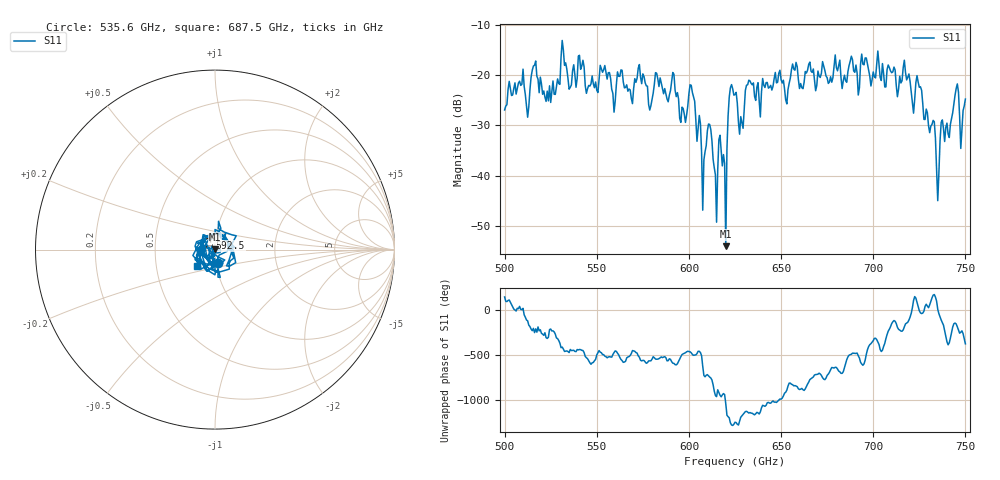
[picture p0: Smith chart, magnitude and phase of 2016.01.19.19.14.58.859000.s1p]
!Created with skrf (http://scikit-rf.org).
# GHz S RI R 50.0
!freq ReS11 ImS11
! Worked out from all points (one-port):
!   401 points, 500 GHz to 750 GHz, reference 50 ohm
!   lowest |S11| = -54.0 dB at 620 GHz (marker M1), VSWR 1.00, Z = 50.2 + j0.118 ohm
!   |S11| at or under -10 dB: start of sweep to end of sweep
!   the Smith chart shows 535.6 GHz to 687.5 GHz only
!   S11 on the Smith chart (normalised r, x): 535.6 GHz: 1.02, -0.15; 592.5 GHz: 0.94, +0.12; 687.5 GHz: 0.80, -0.15
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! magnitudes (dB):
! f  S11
! 500 GHz  -26.9
! 508.8 GHz  -22.1
! 512.5 GHz  -28.4
! 515.6 GHz  -18.2
! 526.2 GHz  -21.2
! 531.2 GHz  -13.1
! 535.6 GHz  -22.4
! 562.5 GHz  -20.3
! 579.4 GHz  -26.1
! 592.5 GHz  -23.0
! 593.8 GHz  -23.5
! 601.9 GHz  -23.4
! 608.1 GHz  -36.9
! 611.2 GHz  -29.8
! 614.4 GHz  -39.8
! 620 GHz  -54.0
! 622.5 GHz  -22.5
! 625 GHz  -23.9
! 628.1 GHz  -28.3
! 632.5 GHz  -21.0
! 656.2 GHz  -17.8
! 687.5 GHz  -17.3
! 718.8 GHz  -20.4
! 725 GHz  -22.4
! 735 GHz  -45.0
! 745 GHz  -22.7
! 748.1 GHz  -30.8
! 750 GHz  -24.8
